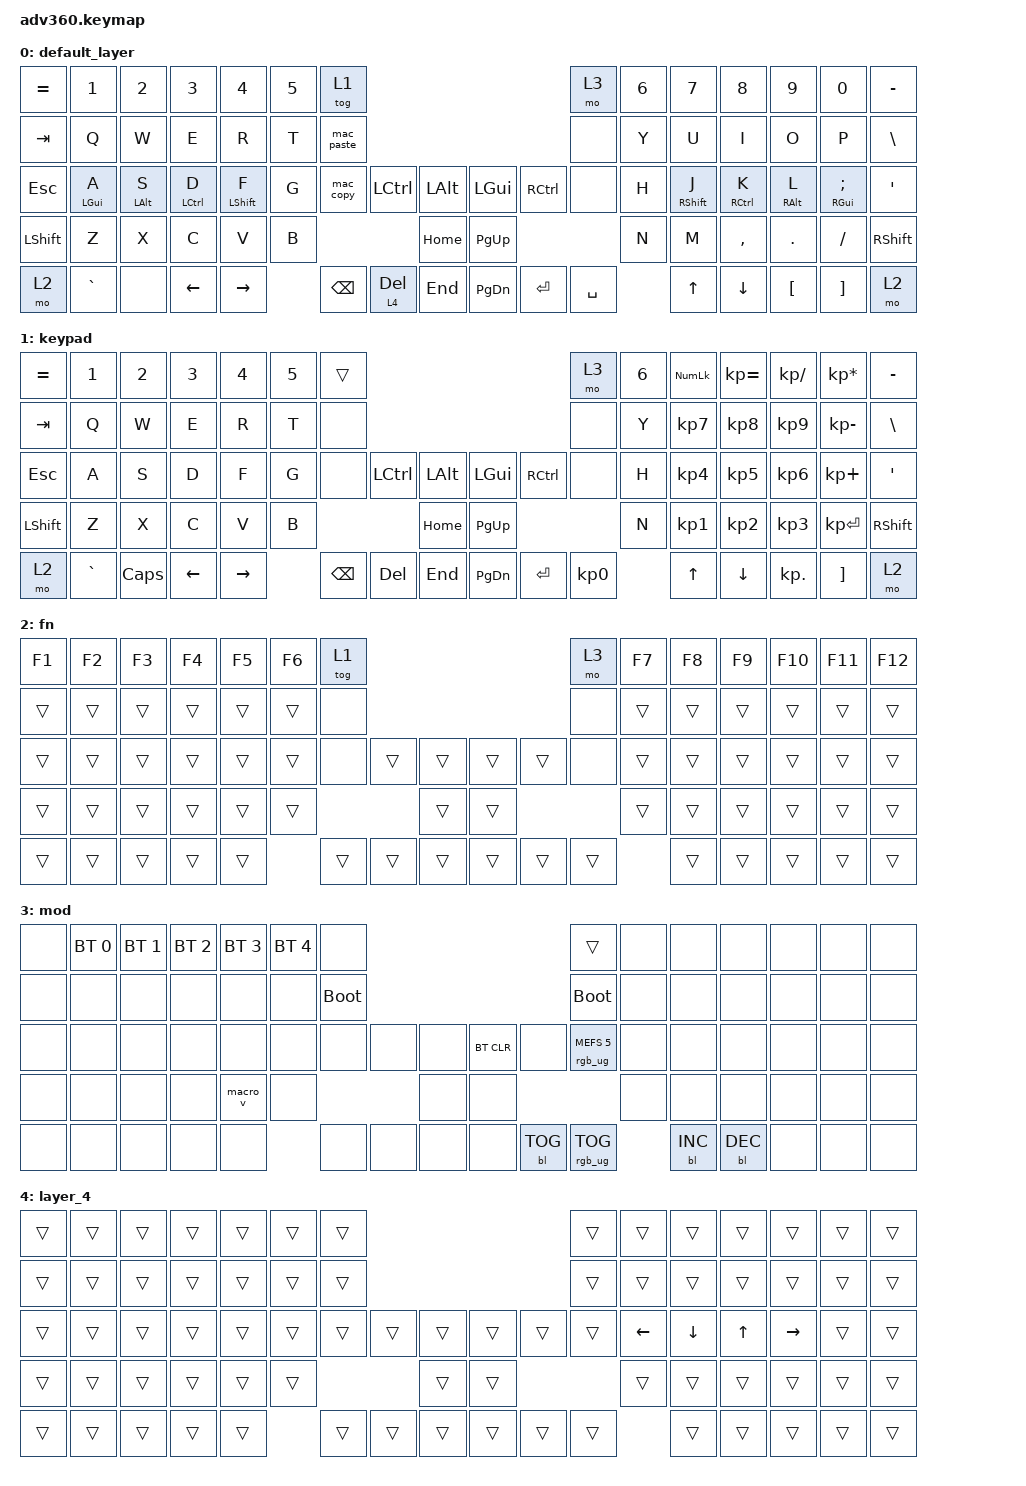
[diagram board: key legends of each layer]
#include <behaviors.dtsi>
#include <dt-bindings/zmk/backlight.h>
#include <dt-bindings/zmk/bt.h>
#include <dt-bindings/zmk/keys.h>
#include <dt-bindings/zmk/rgb.h>

/ {
    behaviors {
        #include "macros.dtsi"
      #include "version.dtsi"

        macro_v: macro_v {
            compatible = "zmk,behavior-macro";
            label = "macro_version";
            #binding-cells = <0>;
            bindings = <&kp RET>;
        };

        layer_with_bt1: layer_with_bt1 {
            compatible = "zmk,behavior-macro";
            #binding-cells = <0>;
            bindings = <&bt BT_SEL 1 &to 0>;
            label = "LAYER_WITH_BT1";
        };

        layer_with_bt0: layer_with_bt0 {
            compatible = "zmk,behavior-macro";
            #binding-cells = <0>;
            bindings = <&bt BT_SEL 0 &to 0>;
            label = "LAYER_WITH_BT0";
        };

        bttest: bttest {
            compatible = "zmk,behavior-macro";
            #binding-cells = <0>;
            bindings = <&bt BT_SEL 0 &to 4>;
            label = "BTTEST";
        };

        mac_copy: mac_copy {
            compatible = "zmk,behavior-macro";
            #binding-cells = <0>;
            bindings =
                <&macro_press>,
                <&kp LEFT_GUI>,
                <&macro_tap>,
                <&kp C>,
                <&macro_release>,
                <&kp LEFT_GUI>;

            label = "MAC_COPY";
        };

        mac_paste: mac_paste {
            compatible = "zmk,behavior-macro";
            #binding-cells = <0>;
            bindings =
                <&macro_press>,
                <&kp LEFT_GUI>,
                <&macro_tap>,
                <&kp V>,
                <&macro_release>,
                <&kp LEFT_GUI>;

            label = "MAC_PASTE";
        };

        hm: homerow_mods {
            compatible = "zmk,behavior-hold-tap";
            label = "HOMEROW_MODS";
            #binding-cells = <2>;
            tapping-term-ms = <200>;
            quick_tap_ms = <175>;
            flavor = "tap-preferred";
            bindings = <&kp>, <&kp>;
        };
    };

    macros {
    };

    keymap {
        compatible = "zmk,keymap";

        default_layer {
            bindings = <
&kp EQUAL  &kp N1          &kp N2          &kp N3       &kp N4            &kp N5  &tog 1                                                        &mo 3      &kp N6  &kp N7             &kp N8       &kp N9           &kp N0              &kp MINUS
&kp TAB    &kp Q           &kp W           &kp E        &kp R             &kp T   &mac_paste                                                    &none      &kp Y   &kp U              &kp I        &kp O            &kp P               &kp BSLH
&kp ESC    &hm LEFT_GUI A  &hm LEFT_ALT S  &hm LCTRL D  &hm LEFT_SHIFT F  &kp G   &mac_copy   &kp LCTRL     &kp LALT      &kp LGUI   &kp RCTRL  &none      &kp H   &hm RIGHT_SHIFT J  &hm RCTRL K  &hm RIGHT_ALT L  &hm RIGHT_GUI SEMI  &kp SQT
&kp LSHFT  &kp Z           &kp X           &kp C        &kp V             &kp B                             &kp HOME      &kp PG_UP                        &kp N   &kp M              &kp COMMA    &kp DOT          &kp FSLH            &kp RSHFT
&mo 2      &kp GRAVE       &none           &kp LEFT     &kp RIGHT                 &kp BSPC    &lt 4 DELETE  &kp END       &kp PG_DN  &kp ENTER  &kp SPACE          &kp UP             &kp DOWN     &kp LBKT         &kp RBKT            &mo 2
            >;
        };

        keypad {
            bindings = <
&kp EQUAL  &kp N1     &kp N2    &kp N3    &kp N4     &kp N5  &trans                                                   &mo 3      &kp N6  &kp KP_NUM  &kp KP_EQUAL  &kp KP_DIVIDE  &kp KP_MULTIPLY  &kp MINUS
&kp TAB    &kp Q      &kp W     &kp E     &kp R      &kp T   &none                                                    &none      &kp Y   &kp KP_N7   &kp KP_N8     &kp KP_N9      &kp KP_MINUS     &kp BSLH
&kp ESC    &kp A      &kp S     &kp D     &kp F      &kp G   &none     &kp LCTRL  &kp LALT      &kp LGUI   &kp RCTRL  &none      &kp H   &kp KP_N4   &kp KP_N5     &kp KP_N6      &kp KP_PLUS      &kp SQT
&kp LSHFT  &kp Z      &kp X     &kp C     &kp V      &kp B                        &kp HOME      &kp PG_UP                        &kp N   &kp KP_N1   &kp KP_N2     &kp KP_N3      &kp KP_ENTER     &kp RSHFT
&mo 2      &kp GRAVE  &kp CAPS  &kp LEFT  &kp RIGHT          &kp BSPC  &kp DEL    &kp END       &kp PG_DN  &kp ENTER  &kp KP_N0          &kp UP      &kp DOWN      &kp KP_DOT     &kp RBKT         &mo 2
            >;
        };

        fn {
            bindings = <
&kp F1  &kp F2  &kp F3  &kp F4  &kp F5  &kp F6  &tog 1                                      &mo 3   &kp F7  &kp F8  &kp F9  &kp F10  &kp F11  &kp F12
&trans  &trans  &trans  &trans  &trans  &trans  &none                                       &none   &trans  &trans  &trans  &trans   &trans   &trans
&trans  &trans  &trans  &trans  &trans  &trans  &none   &trans  &trans      &trans  &trans  &none   &trans  &trans  &trans  &trans   &trans   &trans
&trans  &trans  &trans  &trans  &trans  &trans                  &trans      &trans                  &trans  &trans  &trans  &trans   &trans   &trans
&trans  &trans  &trans  &trans  &trans          &trans  &trans  &trans      &trans  &trans  &trans          &trans  &trans  &trans   &trans   &trans
            >;
        };

        mod {
            bindings = <
&none  &bt BT_SEL 0  &bt BT_SEL 1  &bt BT_SEL 2  &bt BT_SEL 3  &bt BT_SEL 4  &none                                                  &trans                  &none  &none       &none       &none  &none  &none
&none  &none         &none         &none         &none         &none         &bootloader                                            &bootloader             &none  &none       &none       &none  &none  &none
&none  &none         &none         &none         &none         &none         &none        &none  &none      &bt BT_CLR  &none       &rgb_ug RGB_MEFS_CMD 5  &none  &none       &none       &none  &none  &none
&none  &none         &none         &none         &macro_v      &none                             &none      &none                                           &none  &none       &none       &none  &none  &none
&none  &none         &none         &none         &none                       &none        &none  &none      &none       &bl BL_TOG  &rgb_ug RGB_TOG                &bl BL_INC  &bl BL_DEC  &none  &none  &none
            >;
        };

        layer_4 {
            bindings = <
&trans  &trans  &trans  &trans  &trans  &trans  &trans                                      &trans  &trans    &trans          &trans        &trans     &trans  &trans
&trans  &trans  &trans  &trans  &trans  &trans  &trans                                      &trans  &trans    &trans          &trans        &trans     &trans  &trans
&trans  &trans  &trans  &trans  &trans  &trans  &trans  &trans  &trans      &trans  &trans  &trans  &kp LEFT  &kp DOWN_ARROW  &kp UP_ARROW  &kp RIGHT  &trans  &trans
&trans  &trans  &trans  &trans  &trans  &trans                  &trans      &trans                  &trans    &trans          &trans        &trans     &trans  &trans
&trans  &trans  &trans  &trans  &trans          &trans  &trans  &trans      &trans  &trans  &trans            &trans          &trans        &trans     &trans  &trans
            >;
        };
    };
};
